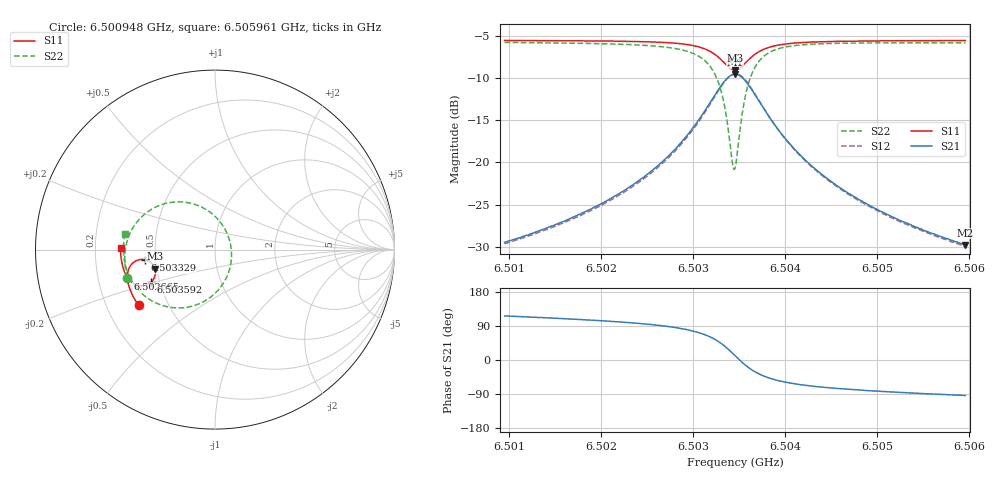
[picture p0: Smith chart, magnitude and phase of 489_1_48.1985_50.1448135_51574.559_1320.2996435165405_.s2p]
#  HZ  S  RI  R  50.00
! Rohde & Schwarz Vector Network Analyzer
! Rohde-Schwarz,ZNB20-2Port,1311601062101988,3.16
! Created: UTC 3/20/2024, 11:57:58 AM
! freq[Hz]  re:S11  im:S11  re:S21  im:S21  re:S12  im:S12  re:S22  im:S22
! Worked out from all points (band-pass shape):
!   401 points, 6.500948 GHz to 6.505961 GHz, reference 50 ohm
!   highest |S21| = -9.56 dB at 6.503455 GHz (marker M1); lowest = -29.8 dB at 6.505961 GHz (marker M2)
!   |S21| within 3 dB of the highest: 6.503205 GHz to 6.503705 GHz (500.6 kHz wide, 0.0077 % of centre)
!   lowest |S11| = -9.1 dB at 6.503455 GHz (marker M3), VSWR 2.09, Z = 24.4 - j5.93 ohm
!   |S11| at or under -10 dB: nowhere
!   |S22| runs from -20.8 to -5.8 dB; largest |S21 - S12| = 0.011
!   S11 on the Smith chart (normalised r, x): 6.500948 GHz: 0.34, -0.29; 6.502665 GHz: 0.33, -0.14; 6.503329 GHz: 0.44, -0.06; 6.503592 GHz: 0.45, -0.19; 6.505961 GHz: 0.31, +0.01
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6.5009477e9  -0.4261 -0.3104  -0.0148 0.0302  -0.0132 0.0302  -0.4894 -0.1555
6.5017875e9  -0.4623 -0.2483  -0.0142 0.048  -0.0119 0.0475  -0.5028 -0.0664
6.5022513e9  -0.4787 -0.2071  -0.0113 0.0674  -0.00837 0.0663  -0.4997 -0.000406
6.5026273e9  -0.4875 -0.1655  -0.00222 0.0969  0.00125 0.0947  -0.4801 0.0749
6.5026649e9  -0.488 -0.1604  -0.000501 0.1012  0.00307 0.0987  -0.4762 0.0842
6.5029407e9  -0.4839 -0.1174  0.0264 0.1438  0.0299 0.1396  -0.4206 0.1704
6.5031287e9  -0.4625 -0.0793  0.0808 0.1861  0.083 0.1803  -0.3166 0.2433
6.5032415e9  -0.4295 -0.0585  0.1504 0.2038  0.1509 0.198  -0.1914 0.2659
6.5033292e9  -0.3887 -0.0567  0.2305 0.1876  0.2307 0.1833  -0.0529 0.2253
6.5034295e9  -0.342 -0.0916  0.3154 0.0999  0.3181 0.0957  0.0806 0.0538
6.5034546e9  -0.3356 -0.1064  0.3258 0.0672  0.3293 0.0621  0.0917 -0.00713
6.5034796e9  -0.3325 -0.1222  0.3294 0.0331  0.3333 0.0269  0.0898 -0.0695
6.5035423e9  -0.3396 -0.16  0.3109 -0.0457  0.3135 -0.0553  0.0335 -0.2064
6.5035924e9  -0.3563 -0.1823  0.2771 -0.0917  0.2772 -0.1028  -0.0438 -0.2783
6.5036426e9  -0.3765 -0.1956  0.2379 -0.1203  0.2353 -0.1311  -0.126 -0.3147
6.5037052e9  -0.4012 -0.202  0.1917 -0.1368  0.1869 -0.1463  -0.2165 -0.3248
6.5038682e9  -0.4478 -0.1925  0.1092 -0.1335  0.1024 -0.1385  -0.3654 -0.2775
6.5040437e9  -0.4755 -0.1711  0.0644 -0.1131  0.0583 -0.1153  -0.4378 -0.212
6.5042943e9  -0.4963 -0.141  0.0341 -0.0884  0.0295 -0.089  -0.4816 -0.1394
6.504708e9  -0.513 -0.098  0.0139 -0.0634  0.0107 -0.0629  -0.5052 -0.0583
6.5051341e9  -0.5213 -0.0587  0.0051 -0.0483  0.00295 -0.0476  -0.5103 0.00126
6.5059614e9  -0.5264 0.0114  -0.00218 -0.0324  -0.00336 -0.0318  -0.5025 0.0891
